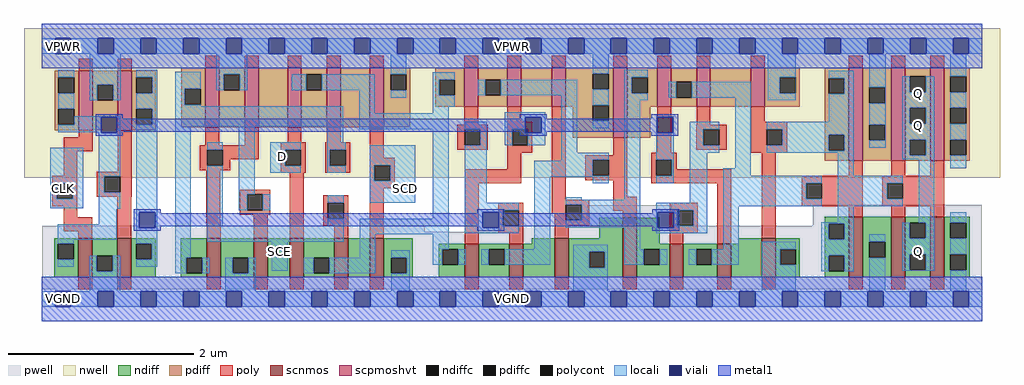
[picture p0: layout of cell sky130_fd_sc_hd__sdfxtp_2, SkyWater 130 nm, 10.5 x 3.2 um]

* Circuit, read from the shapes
.subckt sky130_fd_sc_hd__sdfxtp_2 CLK D SCD SCE VGND VNB VPB VPWR Q
XM1 VGND CLK n1 VNB sky130_fd_pr__nfet_01v8 w=0.42 l=0.15
XM2 n2 n1 VGND VNB sky130_fd_pr__nfet_01v8 w=0.42 l=0.15
XM3 VGND SCE n3 VNB sky130_fd_pr__nfet_01v8 w=0.42 l=0.15
XM4 n4 n3 VGND VNB sky130_fd_pr__nfet_01v8 w=0.42 l=0.15
XM5 n5 D n4 VNB sky130_fd_pr__nfet_01v8 w=0.42 l=0.15
XM6 n6 SCE n5 VNB sky130_fd_pr__nfet_01v8 w=0.42 l=0.15
XM7 VGND SCD n6 VNB sky130_fd_pr__nfet_01v8 w=0.42 l=0.15
XM8 n7 n1 n5 VNB sky130_fd_pr__nfet_01v8 w=0.36 l=0.15
XM9 n8 n2 n7 VNB sky130_fd_pr__nfet_01v8 w=0.36 l=0.15
XM10 VGND n9 n8 VNB sky130_fd_pr__nfet_01v8 w=0.42 l=0.15
XM11 n9 n7 VGND VNB sky130_fd_pr__nfet_01v8 w=0.64 l=0.15
XM12 n10 n2 n9 VNB sky130_fd_pr__nfet_01v8 w=0.36 l=0.15
XM13 n11 n1 n10 VNB sky130_fd_pr__nfet_01v8 w=0.36 l=0.15
XM14 VGND n12 n11 VNB sky130_fd_pr__nfet_01v8 w=0.42 l=0.15
XM15 VGND n10 n12 VNB sky130_fd_pr__nfet_01v8 w=0.65 l=0.15
XM16 Q n12 VGND VNB sky130_fd_pr__nfet_01v8 w=0.65 l=0.15 m=2
XM17 VPWR CLK n1 VPB sky130_fd_pr__pfet_01v8_hvt w=0.64 l=0.15
XM18 n2 n1 VPWR VPB sky130_fd_pr__pfet_01v8_hvt w=0.64 l=0.15
XM19 VPWR SCE n3 VPB sky130_fd_pr__pfet_01v8_hvt w=0.64 l=0.15
XM20 n13 SCE VPWR VPB sky130_fd_pr__pfet_01v8_hvt w=0.64 l=0.15
XM21 n5 D n13 VPB sky130_fd_pr__pfet_01v8_hvt w=0.64 l=0.15
XM22 n14 n3 n5 VPB sky130_fd_pr__pfet_01v8_hvt w=0.64 l=0.15
XM23 VPWR SCD n14 VPB sky130_fd_pr__pfet_01v8_hvt w=0.64 l=0.15
XM24 n7 n2 n5 VPB sky130_fd_pr__pfet_01v8_hvt w=0.42 l=0.15
XM25 n15 n1 n7 VPB sky130_fd_pr__pfet_01v8_hvt w=0.42 l=0.15
XM26 VPWR n9 n15 VPB sky130_fd_pr__pfet_01v8_hvt w=0.42 l=0.15
XM27 n9 n7 VPWR VPB sky130_fd_pr__pfet_01v8_hvt w=0.75 l=0.15
XM28 n10 n1 n9 VPB sky130_fd_pr__pfet_01v8_hvt w=0.42 l=0.15
XM29 n16 n2 n10 VPB sky130_fd_pr__pfet_01v8_hvt w=0.42 l=0.15
XM30 VPWR n12 n16 VPB sky130_fd_pr__pfet_01v8_hvt w=0.42 l=0.15
XM31 VPWR n10 n12 VPB sky130_fd_pr__pfet_01v8_hvt w=1 l=0.15
XM32 Q n12 VPWR VPB sky130_fd_pr__pfet_01v8_hvt w=1 l=0.15 m=2
.ends

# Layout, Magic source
magic
tech sky130B
magscale 1 2
<< nwell >>
rect -38 261 2062 582
<< pwell >>
rect 1174 157 1356 201
rect 1659 157 2023 203
rect 1 145 824 157
rect 1028 145 2023 157
rect 1 21 2023 145
rect 29 -17 63 21
<< scnmos >>
rect 79 47 109 131
rect 163 47 193 131
rect 355 47 385 131
rect 456 47 486 131
rect 534 47 564 131
rect 630 47 660 131
rect 706 47 736 131
rect 910 47 940 119
rect 1006 47 1036 119
rect 1104 47 1134 131
rect 1250 47 1280 175
rect 1351 47 1381 119
rect 1454 47 1484 119
rect 1549 47 1579 131
rect 1737 47 1767 177
rect 1828 47 1858 177
rect 1912 47 1942 177
<< scpmoshvt >>
rect 80 363 110 491
rect 164 363 194 491
rect 352 369 382 497
rect 437 369 467 497
rect 529 369 559 497
rect 613 369 643 497
rect 706 369 736 497
rect 909 413 939 497
rect 1002 413 1032 497
rect 1098 413 1128 497
rect 1230 347 1260 497
rect 1325 413 1355 497
rect 1409 413 1439 497
rect 1526 413 1556 497
rect 1737 297 1767 497
rect 1828 297 1858 497
rect 1912 297 1942 497
<< ndiff >>
rect 27 119 79 131
rect 27 85 35 119
rect 69 85 79 119
rect 27 47 79 85
rect 109 93 163 131
rect 109 59 119 93
rect 153 59 163 93
rect 109 47 163 59
rect 193 119 245 131
rect 193 85 203 119
rect 237 85 245 119
rect 193 47 245 85
rect 299 89 355 131
rect 299 55 311 89
rect 345 55 355 89
rect 299 47 355 55
rect 385 89 456 131
rect 385 55 411 89
rect 445 55 456 89
rect 385 47 456 55
rect 486 47 534 131
rect 564 89 630 131
rect 564 55 585 89
rect 619 55 630 89
rect 564 47 630 55
rect 660 47 706 131
rect 736 89 798 131
rect 1200 131 1250 175
rect 1054 119 1104 131
rect 736 55 752 89
rect 786 55 798 89
rect 736 47 798 55
rect 854 107 910 119
rect 854 73 862 107
rect 896 73 910 107
rect 854 47 910 73
rect 940 107 1006 119
rect 940 73 962 107
rect 996 73 1006 107
rect 940 47 1006 73
rect 1036 47 1104 119
rect 1134 101 1250 131
rect 1134 67 1178 101
rect 1212 67 1250 101
rect 1134 47 1250 67
rect 1280 119 1330 175
rect 1685 162 1737 177
rect 1499 119 1549 131
rect 1280 107 1351 119
rect 1280 73 1296 107
rect 1330 73 1351 107
rect 1280 47 1351 73
rect 1381 107 1454 119
rect 1381 73 1408 107
rect 1442 73 1454 107
rect 1381 47 1454 73
rect 1484 47 1549 119
rect 1579 107 1631 131
rect 1579 73 1589 107
rect 1623 73 1631 107
rect 1579 47 1631 73
rect 1685 128 1693 162
rect 1727 128 1737 162
rect 1685 94 1737 128
rect 1685 60 1693 94
rect 1727 60 1737 94
rect 1685 47 1737 60
rect 1767 123 1828 177
rect 1767 89 1781 123
rect 1815 89 1828 123
rect 1767 47 1828 89
rect 1858 164 1912 177
rect 1858 130 1868 164
rect 1902 130 1912 164
rect 1858 96 1912 130
rect 1858 62 1868 96
rect 1902 62 1912 96
rect 1858 47 1912 62
rect 1942 164 1997 177
rect 1942 130 1955 164
rect 1989 130 1997 164
rect 1942 96 1997 130
rect 1942 62 1955 96
rect 1989 62 1997 96
rect 1942 47 1997 62
<< pdiff >>
rect 28 477 80 491
rect 28 443 36 477
rect 70 443 80 477
rect 28 409 80 443
rect 28 375 36 409
rect 70 375 80 409
rect 28 363 80 375
rect 110 461 164 491
rect 110 427 120 461
rect 154 427 164 461
rect 110 363 164 427
rect 194 477 246 491
rect 194 443 204 477
rect 238 443 246 477
rect 194 409 246 443
rect 194 375 204 409
rect 238 375 246 409
rect 194 363 246 375
rect 300 452 352 497
rect 300 418 308 452
rect 342 418 352 452
rect 300 369 352 418
rect 382 483 437 497
rect 382 449 392 483
rect 426 449 437 483
rect 382 369 437 449
rect 467 369 529 497
rect 559 483 613 497
rect 559 449 569 483
rect 603 449 613 483
rect 559 369 613 449
rect 643 369 706 497
rect 736 483 793 497
rect 736 449 751 483
rect 785 449 793 483
rect 736 369 793 449
rect 847 472 909 497
rect 847 438 855 472
rect 889 438 909 472
rect 847 413 909 438
rect 939 472 1002 497
rect 939 438 954 472
rect 988 438 1002 472
rect 939 413 1002 438
rect 1032 413 1098 497
rect 1128 485 1230 497
rect 1128 451 1186 485
rect 1220 451 1230 485
rect 1128 417 1230 451
rect 1128 413 1186 417
rect 1143 383 1186 413
rect 1220 383 1230 417
rect 1143 347 1230 383
rect 1260 477 1325 497
rect 1260 443 1270 477
rect 1304 443 1325 477
rect 1260 413 1325 443
rect 1355 467 1409 497
rect 1355 433 1365 467
rect 1399 433 1409 467
rect 1355 413 1409 433
rect 1439 413 1526 497
rect 1556 477 1631 497
rect 1556 443 1588 477
rect 1622 443 1631 477
rect 1556 413 1631 443
rect 1685 475 1737 497
rect 1685 441 1693 475
rect 1727 441 1737 475
rect 1260 347 1310 413
rect 1685 353 1737 441
rect 1685 319 1693 353
rect 1727 319 1737 353
rect 1685 297 1737 319
rect 1767 455 1828 497
rect 1767 421 1781 455
rect 1815 421 1828 455
rect 1767 375 1828 421
rect 1767 341 1781 375
rect 1815 341 1828 375
rect 1767 297 1828 341
rect 1858 479 1912 497
rect 1858 445 1868 479
rect 1902 445 1912 479
rect 1858 411 1912 445
rect 1858 377 1868 411
rect 1902 377 1912 411
rect 1858 343 1912 377
rect 1858 309 1868 343
rect 1902 309 1912 343
rect 1858 297 1912 309
rect 1942 479 1997 497
rect 1942 445 1955 479
rect 1989 445 1997 479
rect 1942 411 1997 445
rect 1942 377 1955 411
rect 1989 377 1997 411
rect 1942 343 1997 377
rect 1942 309 1955 343
rect 1989 309 1997 343
rect 1942 297 1997 309
<< ndiffc >>
rect 35 85 69 119
rect 119 59 153 93
rect 203 85 237 119
rect 311 55 345 89
rect 411 55 445 89
rect 585 55 619 89
rect 752 55 786 89
rect 862 73 896 107
rect 962 73 996 107
rect 1178 67 1212 101
rect 1296 73 1330 107
rect 1408 73 1442 107
rect 1589 73 1623 107
rect 1693 128 1727 162
rect 1693 60 1727 94
rect 1781 89 1815 123
rect 1868 130 1902 164
rect 1868 62 1902 96
rect 1955 130 1989 164
rect 1955 62 1989 96
<< pdiffc >>
rect 36 443 70 477
rect 36 375 70 409
rect 120 427 154 461
rect 204 443 238 477
rect 204 375 238 409
rect 308 418 342 452
rect 392 449 426 483
rect 569 449 603 483
rect 751 449 785 483
rect 855 438 889 472
rect 954 438 988 472
rect 1186 451 1220 485
rect 1186 383 1220 417
rect 1270 443 1304 477
rect 1365 433 1399 467
rect 1588 443 1622 477
rect 1693 441 1727 475
rect 1693 319 1727 353
rect 1781 421 1815 455
rect 1781 341 1815 375
rect 1868 445 1902 479
rect 1868 377 1902 411
rect 1868 309 1902 343
rect 1955 445 1989 479
rect 1955 377 1989 411
rect 1955 309 1989 343
<< poly >>
rect 80 491 110 517
rect 164 491 194 517
rect 352 497 382 523
rect 437 497 467 523
rect 529 497 559 523
rect 613 497 643 523
rect 706 497 736 523
rect 909 497 939 523
rect 1002 497 1032 523
rect 1098 497 1128 523
rect 1230 497 1260 523
rect 1325 497 1355 523
rect 1409 497 1439 523
rect 1526 497 1556 523
rect 1737 497 1767 523
rect 1828 497 1858 523
rect 1912 497 1942 523
rect 909 375 939 413
rect 1002 381 1032 413
rect 80 348 110 363
rect 47 318 110 348
rect 47 265 77 318
rect 164 274 194 363
rect 352 331 382 369
rect 437 331 467 369
rect 529 337 559 369
rect 613 337 643 369
rect 340 321 467 331
rect 340 287 356 321
rect 390 301 467 321
rect 514 321 568 337
rect 390 287 406 301
rect 340 277 406 287
rect 514 287 524 321
rect 558 287 568 321
rect 23 249 77 265
rect 23 215 33 249
rect 67 215 77 249
rect 119 264 194 274
rect 119 230 135 264
rect 169 230 194 264
rect 119 220 194 230
rect 23 199 77 215
rect 47 176 77 199
rect 47 146 109 176
rect 79 131 109 146
rect 163 131 193 220
rect 354 166 384 277
rect 514 271 568 287
rect 610 321 664 337
rect 610 287 620 321
rect 654 287 664 321
rect 610 271 664 287
rect 706 304 736 369
rect 894 365 960 375
rect 894 331 910 365
rect 944 331 960 365
rect 894 321 960 331
rect 1002 365 1056 381
rect 1002 331 1012 365
rect 1046 331 1056 365
rect 1002 315 1056 331
rect 706 288 760 304
rect 426 225 492 235
rect 426 191 442 225
rect 476 191 492 225
rect 426 181 492 191
rect 354 157 385 166
rect 355 131 385 157
rect 456 131 486 181
rect 534 131 564 271
rect 706 254 716 288
rect 750 254 760 288
rect 1002 279 1032 315
rect 706 238 760 254
rect 910 249 1032 279
rect 606 207 660 223
rect 606 173 616 207
rect 650 173 660 207
rect 606 157 660 173
rect 630 131 660 157
rect 706 131 736 238
rect 910 119 940 249
rect 1098 213 1128 413
rect 1230 309 1260 347
rect 1325 315 1355 413
rect 1409 375 1439 413
rect 1526 381 1556 413
rect 1408 365 1474 375
rect 1408 331 1424 365
rect 1458 331 1474 365
rect 1408 321 1474 331
rect 1526 365 1604 381
rect 1526 331 1560 365
rect 1594 331 1604 365
rect 1526 315 1604 331
rect 1170 299 1260 309
rect 1170 265 1186 299
rect 1220 265 1260 299
rect 1170 255 1260 265
rect 1230 220 1260 255
rect 1312 299 1366 315
rect 1312 265 1322 299
rect 1356 279 1366 299
rect 1356 265 1484 279
rect 1312 249 1484 265
rect 982 191 1036 207
rect 982 157 992 191
rect 1026 157 1036 191
rect 1098 203 1178 213
rect 1098 183 1128 203
rect 982 141 1036 157
rect 1006 119 1036 141
rect 1104 169 1128 183
rect 1162 169 1178 203
rect 1230 190 1280 220
rect 1250 175 1280 190
rect 1351 191 1412 207
rect 1104 159 1178 169
rect 1104 131 1134 159
rect 1351 157 1368 191
rect 1402 157 1412 191
rect 1351 141 1412 157
rect 1351 119 1381 141
rect 1454 119 1484 249
rect 1549 131 1579 315
rect 1737 265 1767 297
rect 1828 265 1858 297
rect 1912 265 1942 297
rect 1635 249 1767 265
rect 1635 215 1645 249
rect 1679 215 1767 249
rect 1635 199 1767 215
rect 1809 249 1942 265
rect 1809 215 1819 249
rect 1853 215 1942 249
rect 1809 199 1942 215
rect 1737 177 1767 199
rect 1828 177 1858 199
rect 1912 177 1942 199
rect 79 21 109 47
rect 163 21 193 47
rect 355 21 385 47
rect 456 21 486 47
rect 534 21 564 47
rect 630 21 660 47
rect 706 21 736 47
rect 910 21 940 47
rect 1006 21 1036 47
rect 1104 21 1134 47
rect 1250 21 1280 47
rect 1351 21 1381 47
rect 1454 21 1484 47
rect 1549 21 1579 47
rect 1737 21 1767 47
rect 1828 21 1858 47
rect 1912 21 1942 47
<< polycont >>
rect 356 287 390 321
rect 524 287 558 321
rect 33 215 67 249
rect 135 230 169 264
rect 620 287 654 321
rect 910 331 944 365
rect 1012 331 1046 365
rect 442 191 476 225
rect 716 254 750 288
rect 616 173 650 207
rect 1424 331 1458 365
rect 1560 331 1594 365
rect 1186 265 1220 299
rect 1322 265 1356 299
rect 992 157 1026 191
rect 1128 169 1162 203
rect 1368 157 1402 191
rect 1645 215 1679 249
rect 1819 215 1853 249
<< locali >>
rect 0 527 29 561
rect 63 527 121 561
rect 155 527 213 561
rect 247 527 305 561
rect 339 527 397 561
rect 431 527 489 561
rect 523 527 581 561
rect 615 527 673 561
rect 707 527 765 561
rect 799 527 857 561
rect 891 527 949 561
rect 983 527 1041 561
rect 1075 527 1133 561
rect 1167 527 1225 561
rect 1259 527 1317 561
rect 1351 527 1409 561
rect 1443 527 1501 561
rect 1535 527 1593 561
rect 1627 527 1685 561
rect 1719 527 1777 561
rect 1811 527 1869 561
rect 1903 527 1961 561
rect 1995 527 2024 561
rect 36 477 70 493
rect 36 409 70 443
rect 104 461 170 527
rect 104 427 120 461
rect 154 427 170 461
rect 204 477 249 493
rect 238 443 249 477
rect 204 409 249 443
rect 70 391 169 393
rect 70 375 128 391
rect 36 359 128 375
rect 123 357 128 359
rect 162 357 169 391
rect 19 249 89 325
rect 19 215 33 249
rect 67 215 89 249
rect 19 195 89 215
rect 123 264 169 357
rect 123 230 135 264
rect 123 194 169 230
rect 238 375 249 409
rect 123 161 162 194
rect 35 127 162 161
rect 204 187 249 375
rect 204 153 210 187
rect 244 153 249 187
rect 204 143 249 153
rect 35 119 69 127
rect 203 119 249 143
rect 35 69 69 85
rect 103 59 119 93
rect 153 59 169 93
rect 237 85 249 119
rect 203 69 249 85
rect 287 452 342 489
rect 287 418 308 452
rect 376 483 442 527
rect 751 483 785 527
rect 376 449 392 483
rect 426 449 442 483
rect 538 449 569 483
rect 603 449 717 483
rect 287 415 342 418
rect 287 372 649 415
rect 287 89 321 372
rect 356 321 390 337
rect 356 157 390 287
rect 424 225 458 372
rect 615 337 649 372
rect 683 399 717 449
rect 751 433 785 449
rect 842 472 889 488
rect 1186 485 1220 527
rect 842 438 855 472
rect 938 438 954 472
rect 988 438 1152 472
rect 842 413 889 438
rect 842 399 876 413
rect 683 365 876 399
rect 996 391 1084 402
rect 492 321 558 337
rect 492 287 524 321
rect 492 271 558 287
rect 615 321 654 337
rect 615 287 620 321
rect 615 271 654 287
rect 706 288 804 331
rect 706 254 716 288
rect 750 254 804 288
rect 424 191 442 225
rect 476 191 492 225
rect 616 207 650 223
rect 706 207 804 254
rect 842 173 876 365
rect 616 157 650 173
rect 356 123 650 157
rect 684 139 876 173
rect 910 365 958 381
rect 944 331 958 365
rect 996 365 1041 391
rect 996 331 1012 365
rect 1075 357 1084 391
rect 1046 331 1084 357
rect 910 207 958 331
rect 1118 315 1152 438
rect 1186 417 1220 451
rect 1186 367 1220 383
rect 1254 477 1304 493
rect 1254 443 1270 477
rect 1562 477 1623 527
rect 1254 427 1304 443
rect 1349 433 1365 467
rect 1399 433 1526 467
rect 1118 299 1220 315
rect 1118 297 1186 299
rect 1060 265 1186 297
rect 1060 263 1220 265
rect 910 191 1026 207
rect 910 187 992 191
rect 910 153 949 187
rect 983 157 992 187
rect 983 153 1026 157
rect 910 141 1026 153
rect 103 17 169 59
rect 287 55 311 89
rect 345 55 361 89
rect 395 55 411 89
rect 445 55 461 89
rect 495 61 530 123
rect 684 89 718 139
rect 842 107 876 139
rect 1060 107 1094 263
rect 1186 249 1220 263
rect 1128 213 1162 219
rect 1254 213 1288 427
rect 1322 391 1360 393
rect 1322 357 1324 391
rect 1358 357 1360 391
rect 1322 299 1360 357
rect 1356 265 1360 299
rect 1322 249 1360 265
rect 1394 365 1458 381
rect 1394 331 1424 365
rect 1394 315 1458 331
rect 1128 203 1288 213
rect 1394 207 1432 315
rect 1492 281 1526 433
rect 1562 443 1588 477
rect 1622 443 1623 477
rect 1562 427 1623 443
rect 1693 475 1747 491
rect 1727 441 1747 475
rect 1693 381 1747 441
rect 1560 365 1747 381
rect 1594 353 1747 365
rect 1594 331 1693 353
rect 1560 319 1693 331
rect 1727 319 1747 353
rect 1781 455 1816 527
rect 1955 479 1989 527
rect 1815 421 1816 455
rect 1781 375 1816 421
rect 1815 341 1816 375
rect 1781 325 1816 341
rect 1852 445 1868 479
rect 1902 445 1921 479
rect 1852 411 1921 445
rect 1852 377 1868 411
rect 1902 377 1921 411
rect 1852 343 1921 377
rect 1560 315 1747 319
rect 1162 169 1288 203
rect 1128 153 1288 169
rect 564 55 585 89
rect 619 55 718 89
rect 752 89 792 105
rect 786 55 792 89
rect 842 73 862 107
rect 896 73 912 107
rect 946 73 962 107
rect 996 73 1094 107
rect 1144 101 1218 117
rect 395 17 461 55
rect 752 17 792 55
rect 1144 67 1178 101
rect 1212 67 1218 101
rect 1254 107 1288 153
rect 1322 191 1432 207
rect 1322 187 1368 191
rect 1322 153 1326 187
rect 1360 157 1368 187
rect 1402 157 1432 191
rect 1360 153 1432 157
rect 1322 141 1432 153
rect 1466 265 1526 281
rect 1713 265 1747 315
rect 1852 309 1868 343
rect 1902 309 1921 343
rect 1852 301 1921 309
rect 1466 249 1679 265
rect 1466 215 1645 249
rect 1466 199 1679 215
rect 1713 249 1853 265
rect 1713 215 1819 249
rect 1713 199 1853 215
rect 1466 107 1500 199
rect 1713 165 1747 199
rect 1677 162 1747 165
rect 1887 164 1921 301
rect 1955 411 1989 445
rect 1955 343 1989 377
rect 1955 281 1989 309
rect 1677 128 1693 162
rect 1727 128 1747 162
rect 1254 73 1296 107
rect 1330 73 1346 107
rect 1392 73 1408 107
rect 1442 73 1500 107
rect 1549 107 1623 123
rect 1549 73 1589 107
rect 1144 17 1218 67
rect 1549 17 1623 73
rect 1677 94 1747 128
rect 1677 60 1693 94
rect 1727 60 1747 94
rect 1781 123 1815 139
rect 1781 17 1815 89
rect 1852 130 1868 164
rect 1902 130 1921 164
rect 1852 96 1921 130
rect 1852 62 1868 96
rect 1902 62 1921 96
rect 1852 61 1921 62
rect 1955 164 1989 186
rect 1955 96 1989 130
rect 1955 17 1989 62
rect 0 -17 29 17
rect 63 -17 121 17
rect 155 -17 213 17
rect 247 -17 305 17
rect 339 -17 397 17
rect 431 -17 489 17
rect 523 -17 581 17
rect 615 -17 673 17
rect 707 -17 765 17
rect 799 -17 857 17
rect 891 -17 949 17
rect 983 -17 1041 17
rect 1075 -17 1133 17
rect 1167 -17 1225 17
rect 1259 -17 1317 17
rect 1351 -17 1409 17
rect 1443 -17 1501 17
rect 1535 -17 1593 17
rect 1627 -17 1685 17
rect 1719 -17 1777 17
rect 1811 -17 1869 17
rect 1903 -17 1961 17
rect 1995 -17 2024 17
<< viali >>
rect 29 527 63 561
rect 121 527 155 561
rect 213 527 247 561
rect 305 527 339 561
rect 397 527 431 561
rect 489 527 523 561
rect 581 527 615 561
rect 673 527 707 561
rect 765 527 799 561
rect 857 527 891 561
rect 949 527 983 561
rect 1041 527 1075 561
rect 1133 527 1167 561
rect 1225 527 1259 561
rect 1317 527 1351 561
rect 1409 527 1443 561
rect 1501 527 1535 561
rect 1593 527 1627 561
rect 1685 527 1719 561
rect 1777 527 1811 561
rect 1869 527 1903 561
rect 1961 527 1995 561
rect 128 357 162 391
rect 210 153 244 187
rect 1041 365 1075 391
rect 1041 357 1046 365
rect 1046 357 1075 365
rect 949 153 983 187
rect 1324 357 1358 391
rect 1326 153 1360 187
rect 29 -17 63 17
rect 121 -17 155 17
rect 213 -17 247 17
rect 305 -17 339 17
rect 397 -17 431 17
rect 489 -17 523 17
rect 581 -17 615 17
rect 673 -17 707 17
rect 765 -17 799 17
rect 857 -17 891 17
rect 949 -17 983 17
rect 1041 -17 1075 17
rect 1133 -17 1167 17
rect 1225 -17 1259 17
rect 1317 -17 1351 17
rect 1409 -17 1443 17
rect 1501 -17 1535 17
rect 1593 -17 1627 17
rect 1685 -17 1719 17
rect 1777 -17 1811 17
rect 1869 -17 1903 17
rect 1961 -17 1995 17
<< metal1 >>
rect 0 561 2024 592
rect 0 527 29 561
rect 63 527 121 561
rect 155 527 213 561
rect 247 527 305 561
rect 339 527 397 561
rect 431 527 489 561
rect 523 527 581 561
rect 615 527 673 561
rect 707 527 765 561
rect 799 527 857 561
rect 891 527 949 561
rect 983 527 1041 561
rect 1075 527 1133 561
rect 1167 527 1225 561
rect 1259 527 1317 561
rect 1351 527 1409 561
rect 1443 527 1501 561
rect 1535 527 1593 561
rect 1627 527 1685 561
rect 1719 527 1777 561
rect 1811 527 1869 561
rect 1903 527 1961 561
rect 1995 527 2024 561
rect 0 496 2024 527
rect 116 391 174 397
rect 116 357 128 391
rect 162 388 174 391
rect 1029 391 1087 397
rect 1029 388 1041 391
rect 162 360 1041 388
rect 162 357 174 360
rect 116 351 174 357
rect 1029 357 1041 360
rect 1075 388 1087 391
rect 1312 391 1370 397
rect 1312 388 1324 391
rect 1075 360 1324 388
rect 1075 357 1087 360
rect 1029 351 1087 357
rect 1312 357 1324 360
rect 1358 357 1370 391
rect 1312 351 1370 357
rect 198 187 256 193
rect 198 153 210 187
rect 244 184 256 187
rect 937 187 995 193
rect 937 184 949 187
rect 244 156 949 184
rect 244 153 256 156
rect 198 147 256 153
rect 937 153 949 156
rect 983 184 995 187
rect 1314 187 1372 193
rect 1314 184 1326 187
rect 983 156 1326 184
rect 983 153 995 156
rect 937 147 995 153
rect 1314 153 1326 156
rect 1360 153 1372 187
rect 1314 147 1372 153
rect 0 17 2024 48
rect 0 -17 29 17
rect 63 -17 121 17
rect 155 -17 213 17
rect 247 -17 305 17
rect 339 -17 397 17
rect 431 -17 489 17
rect 523 -17 581 17
rect 615 -17 673 17
rect 707 -17 765 17
rect 799 -17 857 17
rect 891 -17 949 17
rect 983 -17 1041 17
rect 1075 -17 1133 17
rect 1167 -17 1225 17
rect 1259 -17 1317 17
rect 1351 -17 1409 17
rect 1443 -17 1501 17
rect 1535 -17 1593 17
rect 1627 -17 1685 17
rect 1719 -17 1777 17
rect 1811 -17 1869 17
rect 1903 -17 1961 17
rect 1995 -17 2024 17
rect 0 -48 2024 -17
<< labels >>
flabel metal1 s 29 -17 63 17 0 FreeSans 200 0 0 0 VGND
port 5 nsew ground bidirectional abutment
flabel metal1 s 29 527 63 561 0 FreeSans 200 0 0 0 VPWR
port 8 nsew power bidirectional abutment
flabel locali s 765 221 799 255 0 FreeSans 300 0 0 0 SCD
port 3 nsew signal input
flabel locali s 501 289 535 323 0 FreeSans 300 0 0 0 D
port 2 nsew signal input
flabel locali s 495 85 529 119 0 FreeSans 300 0 0 0 SCE
port 4 nsew signal input
flabel locali s 29 221 63 255 0 FreeSans 400 0 0 0 CLK
port 1 nsew clock input
flabel locali s 1869 85 1903 119 0 FreeSans 200 0 0 0 Q
port 9 nsew signal output
flabel locali s 1869 357 1903 391 0 FreeSans 200 0 0 0 Q
port 9 nsew signal output
flabel locali s 1869 425 1903 459 0 FreeSans 200 0 0 0 Q
port 9 nsew signal output
flabel pwell s 29 -17 63 17 0 FreeSans 200 0 0 0 VNB
port 6 nsew ground bidirectional
flabel pwell s 46 0 46 0 0 FreeSans 200 0 0 0 VNB
flabel nwell s 29 527 63 561 0 FreeSans 200 0 0 0 VPB
port 7 nsew power bidirectional
flabel nwell s 46 544 46 544 0 FreeSans 200 0 0 0 VPB
rlabel comment s 0 0 0 0 4 sdfxtp_2
rlabel metal1 s 0 -48 2024 48 1 VGND
port 5 nsew ground bidirectional abutment
rlabel metal1 s 0 496 2024 592 1 VPWR
port 8 nsew power bidirectional abutment
<< properties >>
string FIXED_BBOX 0 0 2024 544
string GDS_END 392160
string GDS_FILE $PDKPATH/libs.ref/sky130_fd_sc_hd/gds/sky130_fd_sc_hd.gds
string GDS_START 376362
string LEFclass CORE
string LEFsite unithd
string LEFsymmetry X Y R90
string path 0.000 0.000 10.120 0.000 
<< end >>
